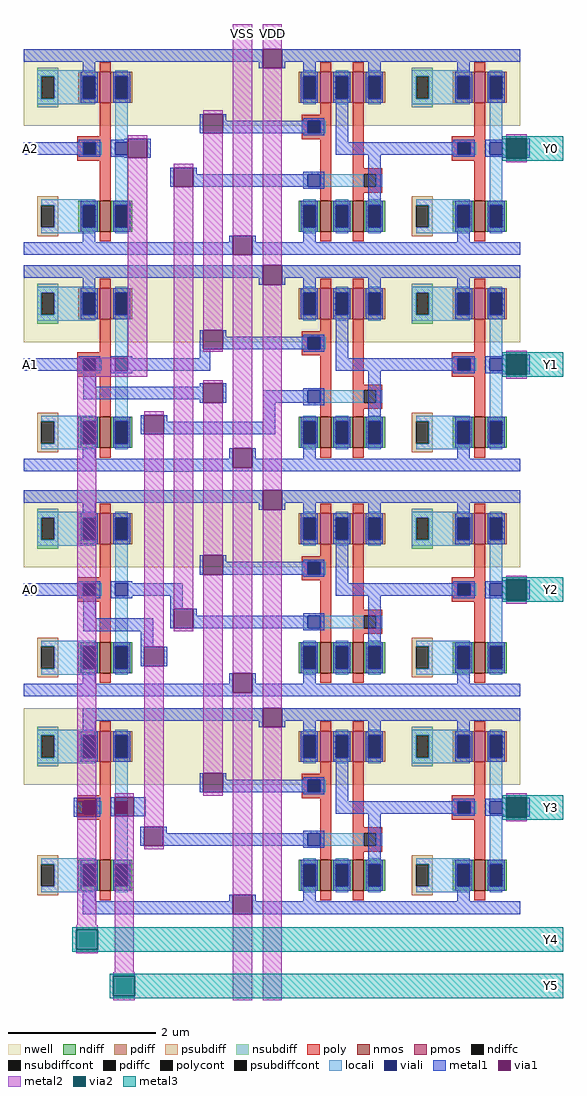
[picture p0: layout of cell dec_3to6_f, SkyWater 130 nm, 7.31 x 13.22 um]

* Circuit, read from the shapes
.subckt dec_3to6_f A0 A1 A2 VDD VSS Y0 Y1 Y2 Y3 Y4 Y5
XM1 Y5 Y4 VSS VSS sky130_fd_pr__nfet_01v8 w=0.42 l=0.15
XM2 n1 A0 VSS VSS sky130_fd_pr__nfet_01v8 w=0.42 l=0.15
XM3 n2 A1 VSS VSS sky130_fd_pr__nfet_01v8 w=0.42 l=0.15
XM4 Y4 A2 VSS VSS sky130_fd_pr__nfet_01v8 w=0.42 l=0.15
XM5 n3 A1 VSS VSS sky130_fd_pr__nfet_01v8 w=0.42 l=0.15
XM6 n4 A1 VSS VSS sky130_fd_pr__nfet_01v8 w=0.42 l=0.15
XM7 n5 n2 VSS VSS sky130_fd_pr__nfet_01v8 w=0.42 l=0.15
XM8 n6 n2 VSS VSS sky130_fd_pr__nfet_01v8 w=0.42 l=0.15
XM9 n7 A0 n3 VSS sky130_fd_pr__nfet_01v8 w=0.42 l=0.15
XM10 n8 n1 n4 VSS sky130_fd_pr__nfet_01v8 w=0.42 l=0.15
XM11 n9 A0 n5 VSS sky130_fd_pr__nfet_01v8 w=0.42 l=0.15
XM12 n10 n1 n6 VSS sky130_fd_pr__nfet_01v8 w=0.42 l=0.15
XM13 Y3 n7 VSS VSS sky130_fd_pr__nfet_01v8 w=0.42 l=0.15
XM14 Y2 n8 VSS VSS sky130_fd_pr__nfet_01v8 w=0.42 l=0.15
XM15 Y1 n9 VSS VSS sky130_fd_pr__nfet_01v8 w=0.42 l=0.15
XM16 Y0 n10 VSS VSS sky130_fd_pr__nfet_01v8 w=0.42 l=0.15
XM17 Y5 Y4 VDD VDD sky130_fd_pr__pfet_01v8 w=0.42 l=0.15
XM18 n1 A0 VDD VDD sky130_fd_pr__pfet_01v8 w=0.42 l=0.15
XM19 n2 A1 VDD VDD sky130_fd_pr__pfet_01v8 w=0.42 l=0.15
XM20 Y4 A2 VDD VDD sky130_fd_pr__pfet_01v8 w=0.42 l=0.15
XM21 n7 A1 VDD VDD sky130_fd_pr__pfet_01v8 w=0.42 l=0.15
XM22 n8 A1 VDD VDD sky130_fd_pr__pfet_01v8 w=0.42 l=0.15
XM23 n9 n2 VDD VDD sky130_fd_pr__pfet_01v8 w=0.42 l=0.15
XM24 n10 n2 VDD VDD sky130_fd_pr__pfet_01v8 w=0.42 l=0.15
XM25 VDD A0 n7 VDD sky130_fd_pr__pfet_01v8 w=0.42 l=0.15
XM26 VDD n1 n8 VDD sky130_fd_pr__pfet_01v8 w=0.42 l=0.15
XM27 VDD A0 n9 VDD sky130_fd_pr__pfet_01v8 w=0.42 l=0.15
XM28 VDD n1 n10 VDD sky130_fd_pr__pfet_01v8 w=0.42 l=0.15
XM29 Y3 n7 VDD VDD sky130_fd_pr__pfet_01v8 w=0.42 l=0.15
XM30 Y2 n8 VDD VDD sky130_fd_pr__pfet_01v8 w=0.42 l=0.15
XM31 Y1 n9 VDD VDD sky130_fd_pr__pfet_01v8 w=0.42 l=0.15
XM32 Y0 n10 VDD VDD sky130_fd_pr__pfet_01v8 w=0.42 l=0.15
.ends

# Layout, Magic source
magic
tech sky130A
magscale 1 2
<< nwell >>
rect 0 2369 1345 2577
rect 0 1783 1345 1991
rect 0 1173 1345 1381
rect 0 583 1345 791
<< nmos >>
rect 206 2082 236 2166
rect 803 2082 833 2166
rect 891 2082 921 2166
rect 1221 2082 1251 2166
rect 206 1496 236 1580
rect 803 1496 833 1580
rect 891 1496 921 1580
rect 1221 1496 1251 1580
rect 206 886 236 970
rect 803 886 833 970
rect 891 886 921 970
rect 1221 886 1251 970
rect 206 296 236 380
rect 803 296 833 380
rect 891 296 921 380
rect 1221 296 1251 380
<< pmos >>
rect 206 2431 236 2515
rect 803 2431 833 2515
rect 891 2431 921 2515
rect 1221 2431 1251 2515
rect 206 1845 236 1929
rect 803 1845 833 1929
rect 891 1845 921 1929
rect 1221 1845 1251 1929
rect 206 1235 236 1319
rect 803 1235 833 1319
rect 891 1235 921 1319
rect 1221 1235 1251 1319
rect 206 645 236 729
rect 803 645 833 729
rect 891 645 921 729
rect 1221 645 1251 729
<< ndiff >>
rect 148 2154 206 2166
rect 148 2094 160 2154
rect 194 2094 206 2154
rect 148 2082 206 2094
rect 236 2154 294 2166
rect 236 2094 248 2154
rect 282 2094 294 2154
rect 236 2082 294 2094
rect 745 2154 803 2166
rect 745 2094 757 2154
rect 791 2094 803 2154
rect 745 2082 803 2094
rect 833 2154 891 2166
rect 833 2094 845 2154
rect 879 2094 891 2154
rect 833 2082 891 2094
rect 921 2154 979 2166
rect 921 2094 933 2154
rect 967 2094 979 2154
rect 921 2082 979 2094
rect 1163 2154 1221 2166
rect 1163 2094 1175 2154
rect 1209 2094 1221 2154
rect 1163 2082 1221 2094
rect 1251 2154 1309 2166
rect 1251 2094 1263 2154
rect 1297 2094 1309 2154
rect 1251 2082 1309 2094
rect 148 1568 206 1580
rect 148 1508 160 1568
rect 194 1508 206 1568
rect 148 1496 206 1508
rect 236 1568 294 1580
rect 236 1508 248 1568
rect 282 1508 294 1568
rect 236 1496 294 1508
rect 745 1568 803 1580
rect 745 1508 757 1568
rect 791 1508 803 1568
rect 745 1496 803 1508
rect 833 1568 891 1580
rect 833 1508 845 1568
rect 879 1508 891 1568
rect 833 1496 891 1508
rect 921 1568 979 1580
rect 921 1508 933 1568
rect 967 1508 979 1568
rect 921 1496 979 1508
rect 1163 1568 1221 1580
rect 1163 1508 1175 1568
rect 1209 1508 1221 1568
rect 1163 1496 1221 1508
rect 1251 1568 1309 1580
rect 1251 1508 1263 1568
rect 1297 1508 1309 1568
rect 1251 1496 1309 1508
rect 148 958 206 970
rect 148 898 160 958
rect 194 898 206 958
rect 148 886 206 898
rect 236 958 294 970
rect 236 898 248 958
rect 282 898 294 958
rect 236 886 294 898
rect 745 958 803 970
rect 745 898 757 958
rect 791 898 803 958
rect 745 886 803 898
rect 833 958 891 970
rect 833 898 845 958
rect 879 898 891 958
rect 833 886 891 898
rect 921 958 979 970
rect 921 898 933 958
rect 967 898 979 958
rect 921 886 979 898
rect 1163 958 1221 970
rect 1163 898 1175 958
rect 1209 898 1221 958
rect 1163 886 1221 898
rect 1251 958 1309 970
rect 1251 898 1263 958
rect 1297 898 1309 958
rect 1251 886 1309 898
rect 148 368 206 380
rect 148 308 160 368
rect 194 308 206 368
rect 148 296 206 308
rect 236 368 294 380
rect 236 308 248 368
rect 282 308 294 368
rect 236 296 294 308
rect 745 368 803 380
rect 745 308 757 368
rect 791 308 803 368
rect 745 296 803 308
rect 833 368 891 380
rect 833 308 845 368
rect 879 308 891 368
rect 833 296 891 308
rect 921 368 979 380
rect 921 308 933 368
rect 967 308 979 368
rect 921 296 979 308
rect 1163 368 1221 380
rect 1163 308 1175 368
rect 1209 308 1221 368
rect 1163 296 1221 308
rect 1251 368 1309 380
rect 1251 308 1263 368
rect 1297 308 1309 368
rect 1251 296 1309 308
<< pdiff >>
rect 148 2503 206 2515
rect 148 2443 160 2503
rect 194 2443 206 2503
rect 148 2431 206 2443
rect 236 2503 294 2515
rect 236 2443 248 2503
rect 282 2443 294 2503
rect 236 2431 294 2443
rect 745 2503 803 2515
rect 745 2443 757 2503
rect 791 2443 803 2503
rect 745 2431 803 2443
rect 833 2503 891 2515
rect 833 2443 845 2503
rect 879 2443 891 2503
rect 833 2431 891 2443
rect 921 2503 979 2515
rect 921 2443 933 2503
rect 967 2443 979 2503
rect 921 2431 979 2443
rect 1163 2503 1221 2515
rect 1163 2443 1175 2503
rect 1209 2443 1221 2503
rect 1163 2431 1221 2443
rect 1251 2503 1309 2515
rect 1251 2443 1263 2503
rect 1297 2443 1309 2503
rect 1251 2431 1309 2443
rect 148 1917 206 1929
rect 148 1857 160 1917
rect 194 1857 206 1917
rect 148 1845 206 1857
rect 236 1917 294 1929
rect 236 1857 248 1917
rect 282 1857 294 1917
rect 236 1845 294 1857
rect 745 1917 803 1929
rect 745 1857 757 1917
rect 791 1857 803 1917
rect 745 1845 803 1857
rect 833 1917 891 1929
rect 833 1857 845 1917
rect 879 1857 891 1917
rect 833 1845 891 1857
rect 921 1917 979 1929
rect 921 1857 933 1917
rect 967 1857 979 1917
rect 921 1845 979 1857
rect 1163 1917 1221 1929
rect 1163 1857 1175 1917
rect 1209 1857 1221 1917
rect 1163 1845 1221 1857
rect 1251 1917 1309 1929
rect 1251 1857 1263 1917
rect 1297 1857 1309 1917
rect 1251 1845 1309 1857
rect 148 1307 206 1319
rect 148 1247 160 1307
rect 194 1247 206 1307
rect 148 1235 206 1247
rect 236 1307 294 1319
rect 236 1247 248 1307
rect 282 1247 294 1307
rect 236 1235 294 1247
rect 745 1307 803 1319
rect 745 1247 757 1307
rect 791 1247 803 1307
rect 745 1235 803 1247
rect 833 1307 891 1319
rect 833 1247 845 1307
rect 879 1247 891 1307
rect 833 1235 891 1247
rect 921 1307 979 1319
rect 921 1247 933 1307
rect 967 1247 979 1307
rect 921 1235 979 1247
rect 1163 1307 1221 1319
rect 1163 1247 1175 1307
rect 1209 1247 1221 1307
rect 1163 1235 1221 1247
rect 1251 1307 1309 1319
rect 1251 1247 1263 1307
rect 1297 1247 1309 1307
rect 1251 1235 1309 1247
rect 148 717 206 729
rect 148 657 160 717
rect 194 657 206 717
rect 148 645 206 657
rect 236 717 294 729
rect 236 657 248 717
rect 282 657 294 717
rect 236 645 294 657
rect 745 717 803 729
rect 745 657 757 717
rect 791 657 803 717
rect 745 645 803 657
rect 833 717 891 729
rect 833 657 845 717
rect 879 657 891 717
rect 833 645 891 657
rect 921 717 979 729
rect 921 657 933 717
rect 967 657 979 717
rect 921 645 979 657
rect 1163 717 1221 729
rect 1163 657 1175 717
rect 1209 657 1221 717
rect 1163 645 1221 657
rect 1251 717 1309 729
rect 1251 657 1263 717
rect 1297 657 1309 717
rect 1251 645 1309 657
<< ndiffc >>
rect 160 2094 194 2154
rect 248 2094 282 2154
rect 757 2094 791 2154
rect 845 2094 879 2154
rect 933 2094 967 2154
rect 1175 2094 1209 2154
rect 1263 2094 1297 2154
rect 160 1508 194 1568
rect 248 1508 282 1568
rect 757 1508 791 1568
rect 845 1508 879 1568
rect 933 1508 967 1568
rect 1175 1508 1209 1568
rect 1263 1508 1297 1568
rect 160 898 194 958
rect 248 898 282 958
rect 757 898 791 958
rect 845 898 879 958
rect 933 898 967 958
rect 1175 898 1209 958
rect 1263 898 1297 958
rect 160 308 194 368
rect 248 308 282 368
rect 757 308 791 368
rect 845 308 879 368
rect 933 308 967 368
rect 1175 308 1209 368
rect 1263 308 1297 368
<< pdiffc >>
rect 160 2443 194 2503
rect 248 2443 282 2503
rect 757 2443 791 2503
rect 845 2443 879 2503
rect 933 2443 967 2503
rect 1175 2443 1209 2503
rect 1263 2443 1297 2503
rect 160 1857 194 1917
rect 248 1857 282 1917
rect 757 1857 791 1917
rect 845 1857 879 1917
rect 933 1857 967 1917
rect 1175 1857 1209 1917
rect 1263 1857 1297 1917
rect 160 1247 194 1307
rect 248 1247 282 1307
rect 757 1247 791 1307
rect 845 1247 879 1307
rect 933 1247 967 1307
rect 1175 1247 1209 1307
rect 1263 1247 1297 1307
rect 160 657 194 717
rect 248 657 282 717
rect 757 657 791 717
rect 845 657 879 717
rect 933 657 967 717
rect 1175 657 1209 717
rect 1263 657 1297 717
<< psubdiff >>
rect 36 2154 94 2178
rect 36 2094 48 2154
rect 82 2094 94 2154
rect 36 2070 94 2094
rect 1051 2154 1109 2178
rect 1051 2094 1063 2154
rect 1097 2094 1109 2154
rect 1051 2070 1109 2094
rect 36 1568 94 1592
rect 36 1508 48 1568
rect 82 1508 94 1568
rect 36 1484 94 1508
rect 1051 1568 1109 1592
rect 1051 1508 1063 1568
rect 1097 1508 1109 1568
rect 1051 1484 1109 1508
rect 36 958 94 982
rect 36 898 48 958
rect 82 898 94 958
rect 36 874 94 898
rect 1051 958 1109 982
rect 1051 898 1063 958
rect 1097 898 1109 958
rect 1051 874 1109 898
rect 36 368 94 392
rect 36 308 48 368
rect 82 308 94 368
rect 36 284 94 308
rect 1051 368 1109 392
rect 1051 308 1063 368
rect 1097 308 1109 368
rect 1051 284 1109 308
<< nsubdiff >>
rect 36 2503 94 2527
rect 36 2443 48 2503
rect 82 2443 94 2503
rect 36 2419 94 2443
rect 1051 2503 1109 2527
rect 1051 2443 1063 2503
rect 1097 2443 1109 2503
rect 1051 2419 1109 2443
rect 36 1917 94 1941
rect 36 1857 48 1917
rect 82 1857 94 1917
rect 36 1833 94 1857
rect 1051 1917 1109 1941
rect 1051 1857 1063 1917
rect 1097 1857 1109 1917
rect 1051 1833 1109 1857
rect 36 1307 94 1331
rect 36 1247 48 1307
rect 82 1247 94 1307
rect 36 1223 94 1247
rect 1051 1307 1109 1331
rect 1051 1247 1063 1307
rect 1097 1247 1109 1307
rect 1051 1223 1109 1247
rect 36 717 94 741
rect 36 657 48 717
rect 82 657 94 717
rect 36 633 94 657
rect 1051 717 1109 741
rect 1051 657 1063 717
rect 1097 657 1109 717
rect 1051 633 1109 657
<< psubdiffcont >>
rect 48 2094 82 2154
rect 1063 2094 1097 2154
rect 48 1508 82 1568
rect 1063 1508 1097 1568
rect 48 898 82 958
rect 1063 898 1097 958
rect 48 308 82 368
rect 1063 308 1097 368
<< nsubdiffcont >>
rect 48 2443 82 2503
rect 1063 2443 1097 2503
rect 48 1857 82 1917
rect 1063 1857 1097 1917
rect 48 1247 82 1307
rect 1063 1247 1097 1307
rect 48 657 82 717
rect 1063 657 1097 717
<< poly >>
rect 206 2515 236 2541
rect 803 2515 833 2541
rect 891 2515 921 2541
rect 1221 2515 1251 2541
rect 206 2341 236 2431
rect 803 2399 833 2431
rect 145 2325 236 2341
rect 753 2383 833 2399
rect 753 2349 769 2383
rect 803 2349 833 2383
rect 753 2333 833 2349
rect 145 2291 161 2325
rect 195 2291 236 2325
rect 145 2275 236 2291
rect 206 2166 236 2275
rect 803 2166 833 2333
rect 891 2254 921 2431
rect 1221 2341 1251 2431
rect 1160 2325 1251 2341
rect 1160 2291 1176 2325
rect 1210 2291 1251 2325
rect 1160 2275 1251 2291
rect 891 2238 971 2254
rect 891 2204 921 2238
rect 955 2204 971 2238
rect 891 2188 971 2204
rect 891 2166 921 2188
rect 1221 2166 1251 2275
rect 206 2056 236 2082
rect 803 2056 833 2082
rect 891 2056 921 2082
rect 1221 2056 1251 2082
rect 206 1929 236 1955
rect 803 1929 833 1955
rect 891 1929 921 1955
rect 1221 1929 1251 1955
rect 206 1755 236 1845
rect 803 1813 833 1845
rect 145 1739 236 1755
rect 753 1797 833 1813
rect 753 1763 769 1797
rect 803 1763 833 1797
rect 753 1747 833 1763
rect 145 1705 161 1739
rect 195 1705 236 1739
rect 145 1689 236 1705
rect 206 1580 236 1689
rect 803 1580 833 1747
rect 891 1668 921 1845
rect 1221 1755 1251 1845
rect 1160 1739 1251 1755
rect 1160 1705 1176 1739
rect 1210 1705 1251 1739
rect 1160 1689 1251 1705
rect 891 1652 971 1668
rect 891 1618 921 1652
rect 955 1618 971 1652
rect 891 1602 971 1618
rect 891 1580 921 1602
rect 1221 1580 1251 1689
rect 206 1470 236 1496
rect 803 1470 833 1496
rect 891 1470 921 1496
rect 1221 1470 1251 1496
rect 206 1319 236 1345
rect 803 1319 833 1345
rect 891 1319 921 1345
rect 1221 1319 1251 1345
rect 206 1145 236 1235
rect 803 1203 833 1235
rect 145 1129 236 1145
rect 753 1187 833 1203
rect 753 1153 769 1187
rect 803 1153 833 1187
rect 753 1137 833 1153
rect 145 1095 161 1129
rect 195 1095 236 1129
rect 145 1079 236 1095
rect 206 970 236 1079
rect 803 970 833 1137
rect 891 1058 921 1235
rect 1221 1145 1251 1235
rect 1160 1129 1251 1145
rect 1160 1095 1176 1129
rect 1210 1095 1251 1129
rect 1160 1079 1251 1095
rect 891 1042 971 1058
rect 891 1008 921 1042
rect 955 1008 971 1042
rect 891 992 971 1008
rect 891 970 921 992
rect 1221 970 1251 1079
rect 206 860 236 886
rect 803 860 833 886
rect 891 860 921 886
rect 1221 860 1251 886
rect 206 729 236 755
rect 803 729 833 755
rect 891 729 921 755
rect 1221 729 1251 755
rect 206 555 236 645
rect 803 613 833 645
rect 145 539 236 555
rect 753 597 833 613
rect 753 563 769 597
rect 803 563 833 597
rect 753 547 833 563
rect 145 505 161 539
rect 195 505 236 539
rect 145 489 236 505
rect 206 380 236 489
rect 803 380 833 547
rect 891 468 921 645
rect 1221 555 1251 645
rect 1160 539 1251 555
rect 1160 505 1176 539
rect 1210 505 1251 539
rect 1160 489 1251 505
rect 891 452 971 468
rect 891 418 921 452
rect 955 418 971 452
rect 891 402 971 418
rect 891 380 921 402
rect 1221 380 1251 489
rect 206 270 236 296
rect 803 270 833 296
rect 891 270 921 296
rect 1221 270 1251 296
<< polycont >>
rect 769 2349 803 2383
rect 161 2291 195 2325
rect 1176 2291 1210 2325
rect 921 2204 955 2238
rect 769 1763 803 1797
rect 161 1705 195 1739
rect 1176 1705 1210 1739
rect 921 1618 955 1652
rect 769 1153 803 1187
rect 161 1095 195 1129
rect 1176 1095 1210 1129
rect 921 1008 955 1042
rect 769 563 803 597
rect 161 505 195 539
rect 1176 505 1210 539
rect 921 418 955 452
<< locali >>
rect 36 2503 194 2519
rect 36 2443 48 2503
rect 82 2443 160 2503
rect 36 2427 194 2443
rect 248 2503 282 2519
rect 248 2325 282 2443
rect 757 2503 791 2519
rect 757 2427 791 2443
rect 845 2503 879 2519
rect 845 2427 879 2443
rect 933 2503 967 2519
rect 933 2427 967 2443
rect 1051 2503 1209 2519
rect 1051 2443 1063 2503
rect 1097 2443 1175 2503
rect 1051 2427 1209 2443
rect 1263 2503 1297 2519
rect 753 2349 769 2383
rect 803 2349 819 2383
rect 1263 2325 1297 2443
rect 145 2291 161 2325
rect 195 2291 211 2325
rect 1160 2291 1176 2325
rect 1210 2291 1226 2325
rect 48 2154 194 2170
rect 82 2094 160 2154
rect 48 2078 194 2094
rect 248 2154 282 2291
rect 757 2204 769 2238
rect 803 2204 921 2238
rect 955 2204 971 2238
rect 248 2078 282 2094
rect 757 2154 791 2170
rect 757 2078 791 2094
rect 845 2154 879 2170
rect 845 2078 879 2094
rect 933 2154 967 2170
rect 933 2078 967 2094
rect 1063 2154 1209 2170
rect 1097 2094 1175 2154
rect 1063 2078 1209 2094
rect 1263 2154 1297 2291
rect 1263 2078 1297 2094
rect 36 1917 194 1933
rect 36 1857 48 1917
rect 82 1857 160 1917
rect 36 1841 194 1857
rect 248 1917 282 1933
rect 248 1739 282 1857
rect 757 1917 791 1933
rect 757 1841 791 1857
rect 845 1917 879 1933
rect 845 1841 879 1857
rect 933 1917 967 1933
rect 933 1841 967 1857
rect 1051 1917 1209 1933
rect 1051 1857 1063 1917
rect 1097 1857 1175 1917
rect 1051 1841 1209 1857
rect 1263 1917 1297 1933
rect 753 1763 769 1797
rect 803 1763 819 1797
rect 1263 1739 1297 1857
rect 145 1705 161 1739
rect 195 1705 211 1739
rect 1160 1705 1176 1739
rect 1210 1705 1226 1739
rect 48 1568 194 1584
rect 82 1508 160 1568
rect 48 1492 194 1508
rect 248 1568 282 1705
rect 757 1618 769 1652
rect 803 1618 921 1652
rect 955 1618 971 1652
rect 248 1492 282 1508
rect 757 1568 791 1584
rect 757 1492 791 1508
rect 845 1568 879 1584
rect 845 1492 879 1508
rect 933 1568 967 1584
rect 933 1492 967 1508
rect 1063 1568 1209 1584
rect 1097 1508 1175 1568
rect 1063 1492 1209 1508
rect 1263 1568 1297 1705
rect 1263 1492 1297 1508
rect 36 1307 194 1323
rect 36 1247 48 1307
rect 82 1247 160 1307
rect 36 1231 194 1247
rect 248 1307 282 1323
rect 248 1129 282 1247
rect 757 1307 791 1323
rect 757 1231 791 1247
rect 845 1307 879 1323
rect 845 1231 879 1247
rect 933 1307 967 1323
rect 933 1231 967 1247
rect 1051 1307 1209 1323
rect 1051 1247 1063 1307
rect 1097 1247 1175 1307
rect 1051 1231 1209 1247
rect 1263 1307 1297 1323
rect 753 1153 769 1187
rect 803 1153 819 1187
rect 1263 1129 1297 1247
rect 145 1095 161 1129
rect 195 1095 211 1129
rect 1160 1095 1176 1129
rect 1210 1095 1226 1129
rect 48 958 194 974
rect 82 898 160 958
rect 48 882 194 898
rect 248 958 282 1095
rect 757 1008 769 1042
rect 803 1008 921 1042
rect 955 1008 971 1042
rect 248 882 282 898
rect 757 958 791 974
rect 757 882 791 898
rect 845 958 879 974
rect 845 882 879 898
rect 933 958 967 974
rect 933 882 967 898
rect 1063 958 1209 974
rect 1097 898 1175 958
rect 1063 882 1209 898
rect 1263 958 1297 1095
rect 1263 882 1297 898
rect 36 717 194 733
rect 36 657 48 717
rect 82 657 160 717
rect 36 641 194 657
rect 248 717 282 733
rect 248 539 282 657
rect 757 717 791 733
rect 757 641 791 657
rect 845 717 879 733
rect 845 641 879 657
rect 933 717 967 733
rect 933 641 967 657
rect 1051 717 1209 733
rect 1051 657 1063 717
rect 1097 657 1175 717
rect 1051 641 1209 657
rect 1263 717 1297 733
rect 753 563 769 597
rect 803 563 819 597
rect 1263 539 1297 657
rect 145 505 161 539
rect 195 505 211 539
rect 1160 505 1176 539
rect 1210 505 1226 539
rect 48 368 194 384
rect 82 308 160 368
rect 48 292 194 308
rect 248 368 282 505
rect 757 418 769 452
rect 803 418 921 452
rect 955 418 971 452
rect 248 292 282 308
rect 757 368 791 384
rect 757 292 791 308
rect 845 368 879 384
rect 845 292 879 308
rect 933 368 967 384
rect 933 292 967 308
rect 1063 368 1209 384
rect 1097 308 1175 368
rect 1063 292 1209 308
rect 1263 368 1297 505
rect 1263 292 1297 308
<< viali >>
rect 160 2443 194 2503
rect 248 2443 282 2503
rect 757 2443 791 2503
rect 845 2443 879 2503
rect 933 2443 967 2503
rect 1175 2443 1209 2503
rect 1263 2443 1297 2503
rect 769 2349 803 2383
rect 161 2291 195 2325
rect 248 2291 282 2325
rect 1176 2291 1210 2325
rect 1263 2291 1297 2325
rect 160 2094 194 2154
rect 769 2204 803 2238
rect 248 2094 282 2154
rect 757 2094 791 2154
rect 845 2094 879 2154
rect 933 2094 967 2154
rect 1175 2094 1209 2154
rect 1263 2094 1297 2154
rect 160 1857 194 1917
rect 248 1857 282 1917
rect 757 1857 791 1917
rect 845 1857 879 1917
rect 933 1857 967 1917
rect 1175 1857 1209 1917
rect 1263 1857 1297 1917
rect 769 1763 803 1797
rect 161 1705 195 1739
rect 248 1705 282 1739
rect 1176 1705 1210 1739
rect 1263 1705 1297 1739
rect 160 1508 194 1568
rect 769 1618 803 1652
rect 248 1508 282 1568
rect 757 1508 791 1568
rect 845 1508 879 1568
rect 933 1508 967 1568
rect 1175 1508 1209 1568
rect 1263 1508 1297 1568
rect 160 1247 194 1307
rect 248 1247 282 1307
rect 757 1247 791 1307
rect 845 1247 879 1307
rect 933 1247 967 1307
rect 1175 1247 1209 1307
rect 1263 1247 1297 1307
rect 769 1153 803 1187
rect 161 1095 195 1129
rect 248 1095 282 1129
rect 1176 1095 1210 1129
rect 1263 1095 1297 1129
rect 160 898 194 958
rect 769 1008 803 1042
rect 248 898 282 958
rect 757 898 791 958
rect 845 898 879 958
rect 933 898 967 958
rect 1175 898 1209 958
rect 1263 898 1297 958
rect 160 657 194 717
rect 248 657 282 717
rect 757 657 791 717
rect 845 657 879 717
rect 933 657 967 717
rect 1175 657 1209 717
rect 1263 657 1297 717
rect 769 563 803 597
rect 161 505 195 539
rect 248 505 282 539
rect 1176 505 1210 539
rect 1263 505 1297 539
rect 160 308 194 368
rect 769 418 803 452
rect 248 308 282 368
rect 757 308 791 368
rect 845 308 879 368
rect 933 308 967 368
rect 1175 308 1209 368
rect 1263 308 1297 368
<< metal1 >>
rect 0 2543 647 2577
rect 160 2515 194 2543
rect 637 2525 647 2543
rect 699 2543 1345 2577
rect 699 2525 709 2543
rect 757 2515 791 2543
rect 933 2515 967 2543
rect 1175 2515 1209 2543
rect 154 2503 200 2515
rect 154 2443 160 2503
rect 194 2443 200 2503
rect 154 2431 200 2443
rect 242 2503 288 2515
rect 242 2443 248 2503
rect 282 2443 288 2503
rect 242 2431 288 2443
rect 751 2503 797 2515
rect 751 2443 757 2503
rect 791 2443 797 2503
rect 751 2431 797 2443
rect 839 2503 885 2515
rect 839 2443 845 2503
rect 879 2443 885 2503
rect 839 2431 885 2443
rect 927 2503 973 2515
rect 927 2443 933 2503
rect 967 2443 973 2503
rect 927 2431 973 2443
rect 1169 2503 1215 2515
rect 1169 2443 1175 2503
rect 1209 2443 1215 2503
rect 1169 2431 1215 2443
rect 1257 2503 1303 2515
rect 1257 2443 1263 2503
rect 1297 2443 1303 2503
rect 1257 2431 1303 2443
rect 477 2349 487 2401
rect 539 2383 549 2401
rect 757 2383 815 2389
rect 539 2349 769 2383
rect 803 2349 815 2383
rect 757 2343 815 2349
rect 272 2331 282 2334
rect 149 2325 207 2331
rect 0 2291 161 2325
rect 195 2291 207 2325
rect 149 2285 207 2291
rect 236 2325 282 2331
rect 236 2291 248 2325
rect 236 2285 282 2291
rect 272 2282 282 2285
rect 334 2282 344 2334
rect 845 2325 879 2431
rect 1299 2331 1309 2334
rect 1164 2325 1222 2331
rect 845 2291 1176 2325
rect 1210 2291 1222 2325
rect 397 2204 407 2256
rect 459 2238 469 2256
rect 757 2238 815 2244
rect 459 2204 769 2238
rect 803 2204 815 2238
rect 757 2198 815 2204
rect 933 2166 967 2291
rect 1164 2285 1222 2291
rect 1251 2325 1309 2331
rect 1251 2291 1263 2325
rect 1297 2291 1309 2325
rect 1251 2285 1309 2291
rect 1299 2282 1309 2285
rect 1361 2282 1371 2334
rect 154 2154 200 2166
rect 154 2094 160 2154
rect 194 2094 200 2154
rect 154 2082 200 2094
rect 242 2154 288 2166
rect 242 2094 248 2154
rect 282 2094 288 2154
rect 242 2082 288 2094
rect 751 2154 797 2166
rect 751 2094 757 2154
rect 791 2094 797 2154
rect 751 2082 797 2094
rect 839 2154 885 2166
rect 839 2094 845 2154
rect 879 2094 885 2154
rect 839 2082 885 2094
rect 927 2154 973 2166
rect 927 2094 933 2154
rect 967 2094 973 2154
rect 927 2082 973 2094
rect 1169 2154 1215 2166
rect 1169 2094 1175 2154
rect 1209 2094 1215 2154
rect 1169 2082 1215 2094
rect 1257 2154 1303 2166
rect 1257 2094 1263 2154
rect 1297 2094 1303 2154
rect 1257 2082 1303 2094
rect 160 2053 194 2082
rect 557 2053 567 2071
rect 0 2019 567 2053
rect 619 2053 629 2071
rect 757 2053 791 2082
rect 1175 2053 1209 2082
rect 619 2019 1345 2053
rect 0 1957 647 1991
rect 160 1929 194 1957
rect 637 1939 647 1957
rect 699 1957 1345 1991
rect 699 1939 709 1957
rect 757 1929 791 1957
rect 933 1929 967 1957
rect 1175 1929 1209 1957
rect 154 1917 200 1929
rect 154 1857 160 1917
rect 194 1857 200 1917
rect 154 1845 200 1857
rect 242 1917 288 1929
rect 242 1857 248 1917
rect 282 1857 288 1917
rect 242 1845 288 1857
rect 751 1917 797 1929
rect 751 1857 757 1917
rect 791 1857 797 1917
rect 751 1845 797 1857
rect 839 1917 885 1929
rect 839 1857 845 1917
rect 879 1857 885 1917
rect 839 1845 885 1857
rect 927 1917 973 1929
rect 927 1857 933 1917
rect 967 1857 973 1917
rect 927 1845 973 1857
rect 1169 1917 1215 1929
rect 1169 1857 1175 1917
rect 1209 1857 1215 1917
rect 1169 1845 1215 1857
rect 1257 1917 1303 1929
rect 1257 1857 1263 1917
rect 1297 1857 1303 1917
rect 1257 1845 1303 1857
rect 477 1763 487 1815
rect 539 1797 549 1815
rect 757 1797 815 1803
rect 539 1763 769 1797
rect 803 1763 815 1797
rect 149 1739 207 1745
rect 0 1705 161 1739
rect 195 1705 207 1739
rect 149 1699 207 1705
rect 236 1739 294 1745
rect 477 1739 505 1763
rect 757 1757 815 1763
rect 236 1705 248 1739
rect 282 1705 505 1739
rect 845 1739 879 1845
rect 1299 1745 1309 1748
rect 1164 1739 1222 1745
rect 845 1705 1176 1739
rect 1210 1705 1222 1739
rect 236 1699 294 1705
rect 161 1662 195 1699
rect 477 1662 487 1671
rect 161 1628 487 1662
rect 477 1619 487 1628
rect 539 1619 549 1671
rect 757 1652 815 1658
rect 647 1618 769 1652
rect 803 1618 815 1652
rect 154 1568 200 1580
rect 154 1508 160 1568
rect 194 1508 200 1568
rect 154 1496 200 1508
rect 242 1568 288 1580
rect 242 1508 248 1568
rect 282 1508 288 1568
rect 317 1533 327 1585
rect 379 1567 389 1585
rect 647 1567 681 1618
rect 757 1612 815 1618
rect 933 1580 967 1705
rect 1164 1699 1222 1705
rect 1251 1739 1309 1745
rect 1251 1705 1263 1739
rect 1297 1705 1309 1739
rect 1251 1699 1309 1705
rect 1299 1696 1309 1699
rect 1361 1696 1371 1748
rect 379 1533 681 1567
rect 751 1568 797 1580
rect 242 1496 288 1508
rect 751 1508 757 1568
rect 791 1508 797 1568
rect 751 1496 797 1508
rect 839 1568 885 1580
rect 839 1508 845 1568
rect 879 1508 885 1568
rect 839 1496 885 1508
rect 927 1568 973 1580
rect 927 1508 933 1568
rect 967 1508 973 1568
rect 927 1496 973 1508
rect 1169 1568 1215 1580
rect 1169 1508 1175 1568
rect 1209 1508 1215 1568
rect 1169 1496 1215 1508
rect 1257 1568 1303 1580
rect 1257 1508 1263 1568
rect 1297 1508 1303 1568
rect 1257 1496 1303 1508
rect 160 1467 194 1496
rect 557 1467 567 1495
rect 0 1443 567 1467
rect 619 1467 629 1495
rect 757 1467 791 1496
rect 1175 1467 1209 1496
rect 619 1443 1345 1467
rect 0 1433 1345 1443
rect 327 1432 455 1433
rect 0 1347 647 1381
rect 160 1319 194 1347
rect 637 1329 647 1347
rect 699 1347 1345 1381
rect 699 1329 709 1347
rect 757 1319 791 1347
rect 933 1319 967 1347
rect 1175 1319 1209 1347
rect 154 1307 200 1319
rect 154 1247 160 1307
rect 194 1247 200 1307
rect 154 1235 200 1247
rect 242 1307 288 1319
rect 242 1247 248 1307
rect 282 1247 288 1307
rect 242 1235 288 1247
rect 751 1307 797 1319
rect 751 1247 757 1307
rect 791 1247 797 1307
rect 751 1235 797 1247
rect 839 1307 885 1319
rect 839 1247 845 1307
rect 879 1247 885 1307
rect 839 1235 885 1247
rect 927 1307 973 1319
rect 927 1247 933 1307
rect 967 1247 973 1307
rect 927 1235 973 1247
rect 1169 1307 1215 1319
rect 1169 1247 1175 1307
rect 1209 1247 1215 1307
rect 1169 1235 1215 1247
rect 1257 1307 1303 1319
rect 1257 1247 1263 1307
rect 1297 1247 1303 1307
rect 1257 1235 1303 1247
rect 477 1153 487 1205
rect 539 1187 549 1205
rect 757 1187 815 1193
rect 539 1153 769 1187
rect 803 1153 815 1187
rect 757 1147 815 1153
rect 149 1129 207 1135
rect 0 1095 161 1129
rect 195 1095 207 1129
rect 149 1089 207 1095
rect 236 1129 294 1135
rect 845 1129 879 1235
rect 1299 1135 1309 1138
rect 1164 1129 1222 1135
rect 236 1095 248 1129
rect 282 1095 431 1129
rect 845 1095 1176 1129
rect 1210 1095 1222 1129
rect 236 1089 294 1095
rect 161 1034 195 1089
rect 397 1060 431 1095
rect 161 1000 351 1034
rect 397 1008 407 1060
rect 459 1042 469 1060
rect 757 1042 815 1048
rect 459 1008 769 1042
rect 803 1008 815 1042
rect 757 1002 815 1008
rect 154 958 200 970
rect 154 898 160 958
rect 194 898 200 958
rect 154 886 200 898
rect 242 958 288 970
rect 242 898 248 958
rect 282 898 288 958
rect 317 957 351 1000
rect 933 970 967 1095
rect 1164 1089 1222 1095
rect 1251 1129 1309 1135
rect 1251 1095 1263 1129
rect 1297 1095 1309 1129
rect 1251 1089 1309 1095
rect 1299 1086 1309 1089
rect 1361 1086 1371 1138
rect 751 958 797 970
rect 317 905 327 957
rect 379 905 389 957
rect 242 886 288 898
rect 751 898 757 958
rect 791 898 797 958
rect 751 886 797 898
rect 839 958 885 970
rect 839 898 845 958
rect 879 898 885 958
rect 839 886 885 898
rect 927 958 973 970
rect 927 898 933 958
rect 967 898 973 958
rect 927 886 973 898
rect 1169 958 1215 970
rect 1169 898 1175 958
rect 1209 898 1215 958
rect 1169 886 1215 898
rect 1257 958 1303 970
rect 1257 898 1263 958
rect 1297 898 1303 958
rect 1257 886 1303 898
rect 160 857 194 886
rect 557 857 567 885
rect 0 833 567 857
rect 619 857 629 885
rect 757 857 791 886
rect 1175 857 1209 886
rect 619 833 1345 857
rect 0 823 1345 833
rect 160 757 647 791
rect 160 729 194 757
rect 637 739 647 757
rect 699 757 1345 791
rect 699 739 709 757
rect 757 729 791 757
rect 933 729 967 757
rect 1175 729 1209 757
rect 154 717 200 729
rect 154 657 160 717
rect 194 657 200 717
rect 154 645 200 657
rect 242 717 288 729
rect 242 657 248 717
rect 282 657 288 717
rect 242 645 288 657
rect 751 717 797 729
rect 751 657 757 717
rect 791 657 797 717
rect 751 645 797 657
rect 839 717 885 729
rect 839 657 845 717
rect 879 657 885 717
rect 839 645 885 657
rect 927 717 973 729
rect 927 657 933 717
rect 967 657 973 717
rect 927 645 973 657
rect 1169 717 1215 729
rect 1169 657 1175 717
rect 1209 657 1215 717
rect 1169 645 1215 657
rect 1257 717 1303 729
rect 1257 657 1263 717
rect 1297 657 1303 717
rect 1257 645 1303 657
rect 477 563 487 615
rect 539 597 549 615
rect 757 597 815 603
rect 539 563 769 597
rect 803 563 815 597
rect 757 557 815 563
rect 135 496 145 548
rect 197 496 207 548
rect 236 498 246 550
rect 298 498 330 550
rect 845 539 879 645
rect 1299 545 1309 548
rect 1164 539 1222 545
rect 845 505 1176 539
rect 1210 505 1222 539
rect 316 418 326 470
rect 378 452 388 470
rect 757 452 815 458
rect 378 418 769 452
rect 803 418 815 452
rect 757 412 815 418
rect 933 380 967 505
rect 1164 499 1222 505
rect 1251 539 1309 545
rect 1251 505 1263 539
rect 1297 505 1309 539
rect 1251 499 1309 505
rect 1299 496 1309 499
rect 1361 496 1371 548
rect 154 368 200 380
rect 154 308 160 368
rect 194 308 200 368
rect 154 296 200 308
rect 242 368 288 380
rect 242 308 248 368
rect 282 308 288 368
rect 242 296 288 308
rect 751 368 797 380
rect 751 308 757 368
rect 791 308 797 368
rect 751 296 797 308
rect 839 368 885 380
rect 839 308 845 368
rect 879 308 885 368
rect 839 296 885 308
rect 927 368 973 380
rect 927 308 933 368
rect 967 308 973 368
rect 927 296 973 308
rect 1169 368 1215 380
rect 1169 308 1175 368
rect 1209 308 1215 368
rect 1169 296 1215 308
rect 1257 368 1303 380
rect 1257 308 1263 368
rect 1297 308 1303 368
rect 1257 296 1303 308
rect 160 267 194 296
rect 557 267 567 285
rect 160 233 567 267
rect 619 267 629 285
rect 757 267 791 296
rect 1175 267 1209 296
rect 619 233 1345 267
<< via1 >>
rect 647 2525 699 2577
rect 487 2349 539 2401
rect 282 2282 334 2334
rect 407 2204 459 2256
rect 1309 2282 1361 2334
rect 567 2019 619 2071
rect 647 1939 699 1991
rect 487 1763 539 1815
rect 487 1619 539 1671
rect 327 1533 379 1585
rect 1309 1696 1361 1748
rect 567 1443 619 1495
rect 647 1329 699 1381
rect 487 1153 539 1205
rect 407 1008 459 1060
rect 1309 1086 1361 1138
rect 327 905 379 957
rect 567 833 619 885
rect 647 739 699 791
rect 487 563 539 615
rect 145 539 197 548
rect 145 505 161 539
rect 161 505 195 539
rect 195 505 197 539
rect 145 496 197 505
rect 246 539 298 550
rect 246 505 248 539
rect 248 505 282 539
rect 282 505 298 539
rect 246 498 298 505
rect 326 418 378 470
rect 1309 496 1361 548
rect 567 233 619 285
<< metal2 >>
rect 487 2401 539 2411
rect 282 2334 334 2344
rect 282 1741 334 2282
rect 145 1689 334 1741
rect 407 2256 459 2266
rect 145 548 197 1689
rect 327 1585 379 1595
rect 327 957 379 1533
rect 407 1060 459 2204
rect 487 1815 539 2349
rect 487 1757 539 1763
rect 567 2071 619 2645
rect 407 1000 459 1008
rect 487 1671 539 1679
rect 487 1205 539 1619
rect 145 202 197 496
rect 246 550 298 560
rect 142 192 200 202
rect 142 127 200 136
rect 246 75 298 498
rect 327 480 379 905
rect 487 615 539 1153
rect 487 554 539 563
rect 567 1495 619 2019
rect 567 885 619 1443
rect 326 470 379 480
rect 378 418 379 470
rect 326 408 379 418
rect 567 285 619 833
rect 243 66 301 75
rect 243 0 301 10
rect 567 0 619 233
rect 647 2577 699 2645
rect 647 1991 699 2525
rect 1307 2336 1363 2346
rect 1307 2270 1363 2280
rect 647 1381 699 1939
rect 1307 1750 1363 1760
rect 1307 1684 1363 1694
rect 647 791 699 1329
rect 1307 1140 1363 1150
rect 1307 1074 1363 1084
rect 647 0 699 739
rect 1307 550 1363 560
rect 1307 484 1363 494
<< via2 >>
rect 142 136 200 192
rect 243 10 301 66
rect 1307 2334 1363 2336
rect 1307 2282 1309 2334
rect 1309 2282 1361 2334
rect 1361 2282 1363 2334
rect 1307 2280 1363 2282
rect 1307 1748 1363 1750
rect 1307 1696 1309 1748
rect 1309 1696 1361 1748
rect 1361 1696 1363 1748
rect 1307 1694 1363 1696
rect 1307 1138 1363 1140
rect 1307 1086 1309 1138
rect 1309 1086 1361 1138
rect 1361 1086 1363 1138
rect 1307 1084 1363 1086
rect 1307 548 1363 550
rect 1307 496 1309 548
rect 1309 496 1361 548
rect 1361 496 1363 548
rect 1307 494 1363 496
<< metal3 >>
rect 1297 2336 1462 2341
rect 1297 2280 1307 2336
rect 1363 2280 1462 2336
rect 1297 2275 1462 2280
rect 1297 1750 1462 1755
rect 1297 1694 1307 1750
rect 1363 1694 1462 1750
rect 1297 1689 1462 1694
rect 1297 1140 1462 1145
rect 1297 1084 1307 1140
rect 1363 1084 1462 1140
rect 1297 1079 1462 1084
rect 1297 550 1462 555
rect 1297 494 1307 550
rect 1363 494 1462 550
rect 1297 489 1462 494
rect 132 192 1462 197
rect 132 136 142 192
rect 200 136 1462 192
rect 132 131 1462 136
rect 233 66 1462 71
rect 233 10 243 66
rect 301 10 1462 66
rect 233 5 1462 10
<< labels >>
rlabel metal2 647 2593 699 2645 0 VDD
rlabel metal2 567 2593 619 2645 0 VSS
rlabel metal1 0 2291 34 2325 0 A2
rlabel metal1 0 1705 34 1739 0 A1
rlabel metal1 0 1095 34 1129 0 A0
rlabel metal3 1396 2275 1462 2341 0 Y0
rlabel metal3 1396 1689 1462 1755 0 Y1
rlabel metal3 1396 1079 1462 1145 0 Y2
rlabel metal3 1396 489 1462 555 0 Y3
rlabel metal3 1396 131 1462 197 0 Y4
rlabel metal3 1396 5 1462 71 0 Y5
<< end >>
